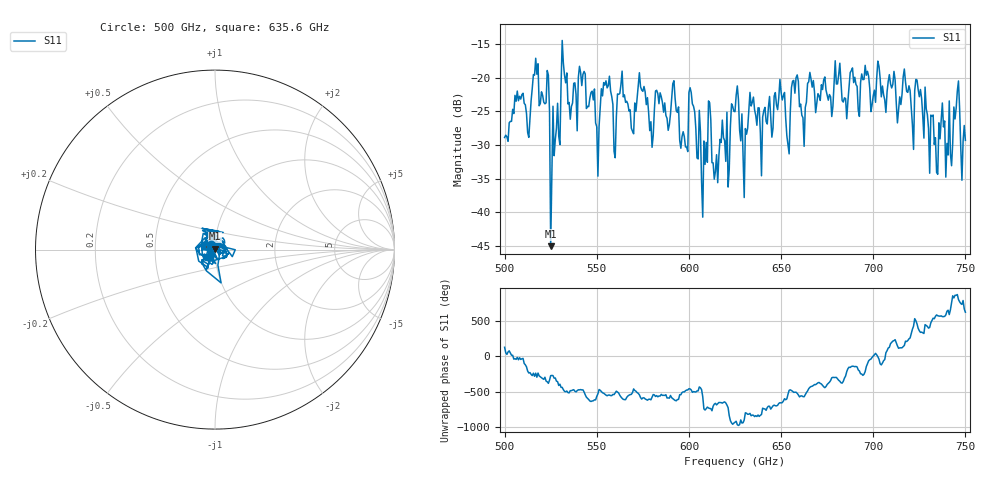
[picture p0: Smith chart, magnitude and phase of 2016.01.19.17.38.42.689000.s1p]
!Created with skrf (http://scikit-rf.org).
# GHz S RI R 50.0
!freq ReS11 ImS11
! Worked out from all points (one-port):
!   401 points, 500 GHz to 750 GHz, reference 50 ohm
!   lowest |S11| = -45.0 dB at 525 GHz (marker M1), VSWR 1.01, Z = 50 + j0.561 ohm
!   |S11| at or under -10 dB: start of sweep to end of sweep
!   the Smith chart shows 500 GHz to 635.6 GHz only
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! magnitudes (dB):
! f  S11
! 500 GHz  -28.9
! 513.1 GHz  -28.9
! 516.9 GHz  -17.1
! 525 GHz  -45.0
! 526.2 GHz  -24.3
! 531.2 GHz  -14.5
! 542.5 GHz  -19.5
! 550.6 GHz  -34.6
! 553.8 GHz  -20.7
! 559.4 GHz  -30.9
! 562.5 GHz  -22.4
! 593.8 GHz  -25.2
! 598.1 GHz  -30.3
! 601.2 GHz  -22.2
! 607.5 GHz  -40.7
! 610.6 GHz  -23.5
! 614.4 GHz  -33.9
! 625 GHz  -25.1
! 630.6 GHz  -27.6
! 633.8 GHz  -24.2
! 650.6 GHz  -23.3
! 653.8 GHz  -29.9
! 656.2 GHz  -20.5
! 687.5 GHz  -19.3
! 718.8 GHz  -22.2
! 734.4 GHz  -34.1
! 745 GHz  -24.5
! 750 GHz  -29.3
